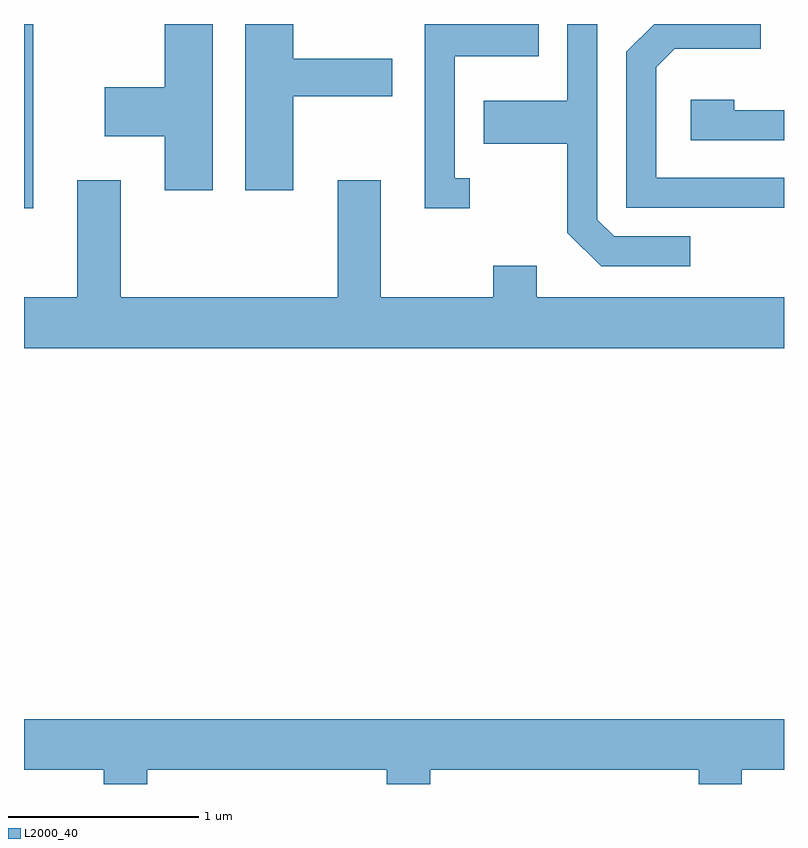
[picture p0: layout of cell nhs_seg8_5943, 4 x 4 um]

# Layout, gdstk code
import gdstk
lib = gdstk.Library(unit=1e-6, precision=1e-09)
def R(c, l, rs):  # rectangles x0, y0, x1, y1
    for r in rs: c.add(gdstk.rectangle(r[:2], r[2:], *l))
def P(c, l, *ps):  # polygons
    for p in ps: c.add(gdstk.Polygon(p, *l))
L2000_40 = (2000, 40)

nhs_seg8_5943 = lib.new_cell('nhs_seg8_5943')
R(nhs_seg8_5943, L2000_40, [(363.611,1839.371,363.659,1840.342)])
P(nhs_seg8_5943, L2000_40, [(364.604,1840.342),(364.351,1840.342),(364.351,1840.009),(364.036,1840.009),(364.036,1839.751),(364.351,1839.751),(364.351,1839.466),(364.604,1839.466)],
  [(365.958,1839.529),(365.879,1839.529),(365.879,1840.171),(366.319,1840.171),(366.319,1840.342),(365.721,1840.342),(365.721,1839.371),(365.958,1839.371)],
  [(367.118,1839.224),(366.717,1839.224),(366.629,1839.312),(366.629,1840.342),(366.471,1840.342),(366.471,1839.939),(366.031,1839.939),(366.031,1839.711),(366.471,1839.711),(366.471,1839.244),(366.649,1839.066),(367.118,1839.066)],
  [(365.029,1839.961),(365.549,1839.961),(365.549,1840.159),(365.029,1840.159),(365.029,1840.342),(364.776,1840.342),(364.776,1839.466),(365.029,1839.466)],
  [(367.611,1839.534),(366.939,1839.534),(366.939,1840.114),(367.037,1840.211),(367.489,1840.211),(367.489,1840.342),(366.927,1840.342),(366.781,1840.197),(366.781,1839.376),(367.611,1839.376)],
  [(367.611,1839.889),(367.349,1839.889),(367.349,1839.944),(367.121,1839.944),(367.121,1839.731),(367.611,1839.731)],
  [(367.611,1838.904),(366.309,1838.904),(366.309,1839.069),(366.081,1839.069),(366.081,1838.904),(365.489,1838.904),(365.489,1839.519),(365.261,1839.519),(365.261,1838.904),(364.119,1838.904),(364.119,1839.519),(363.891,1839.519),(363.891,1838.904),(363.611,1838.904),(363.611,1838.636),(367.611,1838.636)],
  [(364.259,1836.416),(365.521,1836.416),(365.521,1836.342),(365.749,1836.342),(365.749,1836.416),(367.161,1836.416),(367.161,1836.342),(367.389,1836.342),(367.389,1836.416),(367.611,1836.416),(367.611,1836.684),(363.611,1836.684),(363.611,1836.416),(364.031,1836.416),(364.031,1836.342),(364.259,1836.342)])

lib.write_gds('nhs_seg8_5943.gds')
